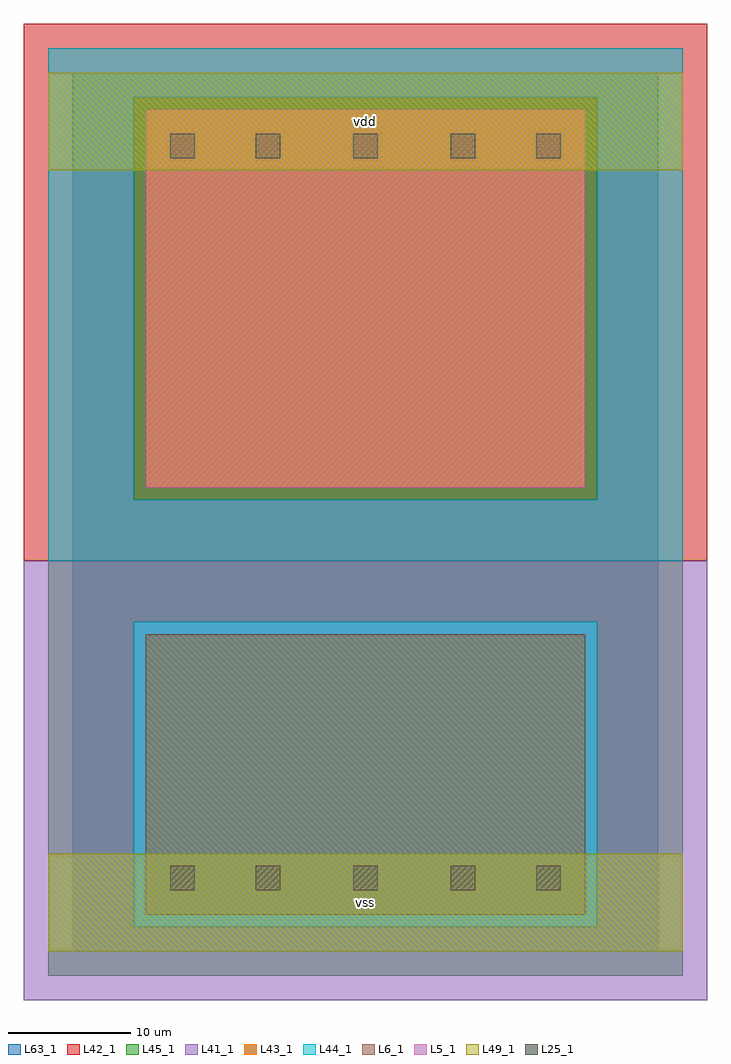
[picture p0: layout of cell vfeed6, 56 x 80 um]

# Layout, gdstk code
import gdstk
lib = gdstk.Library(unit=1e-6, precision=1e-09)
def R(c, l, rs):  # rectangles x0, y0, x1, y1
    for r in rs: c.add(gdstk.rectangle(r[:2], r[2:], *l))
def A(c, l, x, y, w, h, nx, ny, dx, dy):  # array of equal rectangles
    R(c, l, [(x+i*dx, y+j*dy, x+i*dx+w, y+j*dy+h) for i in range(nx) for j in range(ny)])
L5_1 = (5, 1)
L6_1 = (6, 1)
L25_1 = (25, 1)
L41_1 = (41, 1)
L42_1 = (42, 1)
L43_1 = (43, 1)
L44_1 = (44, 1)
L45_1 = (45, 1)
L49_1 = (49, 1)
L63_1 = (63, 1)

vfeed6 = lib.new_cell('vfeed6')
R(vfeed6, L5_1, [(6,38,42,69)])
R(vfeed6, L6_1, [(6,3,42,26), (6,3,42,26)])
A(vfeed6, L25_1, 15, 5, 2, 2, 3, 2, 8, 60)
R(vfeed6, L25_1, [(8,5,10,7), (38,5,40,7), (8,65,10,67), (38,65,40,67)])
R(vfeed6, L41_1, [(-4,-4,52,32)])
R(vfeed6, L42_1, [(-4,32,52,76)])
R(vfeed6, L43_1, [(6,3,42,26), (6,38,42,69)])
R(vfeed6, L44_1, [(5,2,43,27), (-2,32,50,37), (-2,37,5,70), (43,37,50,70), (-2,70,50,74)])
R(vfeed6, L45_1, [(-2,-2,50,2), (-2,2,5,27), (43,2,50,27), (-2,27,50,32), (5,37,43,70)])
R(vfeed6, L49_1, [(-2,0,50,8), (-2,64,50,72)])
R(vfeed6, L63_1, [(0,0,48,72)])
vfeed6.add(gdstk.Label('vss', (24,4), layer=49, texttype=1))
vfeed6.add(gdstk.Label('vdd', (24,68), layer=49, texttype=1))

lib.write_gds('vfeed6.gds')
